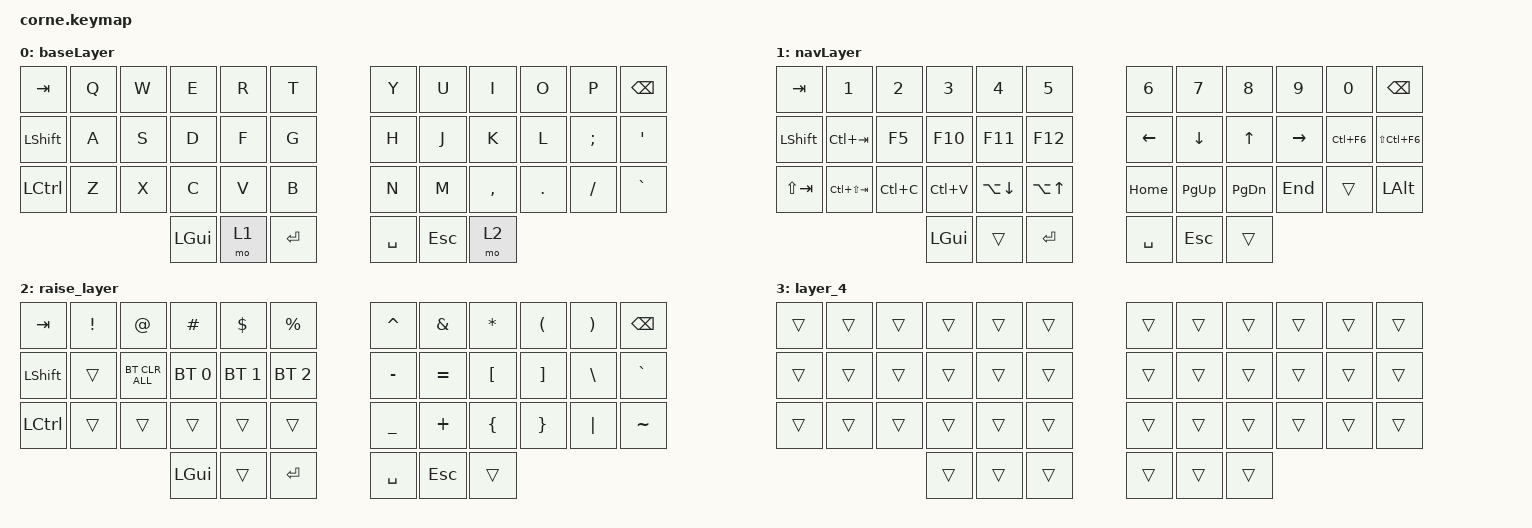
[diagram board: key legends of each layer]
/*
 * Copyright (c) 2020 The ZMK Contributors
 *
 * SPDX-License-Identifier: MIT
 */

#include <behaviors.dtsi>
#include <dt-bindings/zmk/bt.h>
#include <dt-bindings/zmk/keys.h>

/ {
    combos {
        compatible = "zmk,combos";

        cb_minus {
            bindings = <&kp MINUS>;
            key-positions = <6 7>;
        };

        cb_paren {
            bindings = <&kp LPAR>;
            key-positions = <18 19>;
        };

        cb_braket {
            bindings = <&kp LEFT_BRACE>;
            key-positions = <30 31>;
        };

        underline {
            bindings = <&kp UNDERSCORE>;
            key-positions = <8 9>;
        };
    };

    keymap {
        compatible = "zmk,keymap";

        baseLayer {
            // -----------------------------------------------------------------------------------------
            // |  TAB |  Q  |  W  |  E  |  R  |  T  |   |  Y  |  U   |  I  |  O  |  P  | BSPC |
            // | CTRL |  A  |  S  |  D  |  F  |  G  |   |  H  |  J   |  K  |  L  |  ;  |  '   |
            // | SHFT |  Z  |  X  |  C  |  V  |  B  |   |  N  |  M   |  ,  |  .  |  /  | ESC  |
            //                    | GUI | LWR | SPC |   | ENT | RSE  | ALT |

            bindings = <
&kp TAB         &kp Q  &kp W  &kp E     &kp R  &kp T        &kp Y      &kp U       &kp I      &kp O    &kp P     &kp BSPC
&kp LEFT_SHIFT  &kp A  &kp S  &kp D     &kp F  &kp G        &kp H      &kp J       &kp K      &kp L    &kp SEMI  &kp SQT
&kp LCTRL       &kp Z  &kp X  &kp C     &kp V  &kp B        &kp N      &kp M       &kp COMMA  &kp DOT  &kp FSLH  &kp GRAVE
                              &kp LGUI  &mo 1  &kp ENTER    &kp SPACE  &kp ESCAPE  &mo 2
            >;
        };

        navLayer {
            // -----------------------------------------------------------------------------------------
            // |  TAB |  1  |  2  |  3  |  4  |  5  |   |  6  |  7  |  8  |  9  |  0  | BSPC |
            // | BTCLR| BT1 | BT2 | BT3 | BT4 | BT5 |   | LFT | DWN |  UP | RGT |     |      |
            // | SHFT |     |     |     |     |     |   |     |     |     |     |     |      |
            //                    | GUI |     | SPC |   | ENT |     | ALT |

            bindings = <
&kp TAB         &kp N1           &kp N2     &kp N3     &kp N4              &kp N5              &kp N6     &kp N7      &kp N8         &kp N9     &kp N0      &kp BSPC
&kp LEFT_SHIFT  &kp LC(TAB)      &kp F5     &kp F10    &kp F11             &kp F12             &kp LEFT   &kp DOWN    &kp UP         &kp RIGHT  &kp LC(F6)  &kp LS(LC(F6))
&kp LS(TAB)     &kp LC(LS(TAB))  &kp LC(C)  &kp LC(V)  &kp LA(DOWN_ARROW)  &kp LA(UP_ARROW)    &kp HOME   &kp PG_UP   &kp PAGE_DOWN  &kp END    &trans      &kp LEFT_ALT
                                            &kp LGUI   &trans              &kp ENTER           &kp SPACE  &kp ESCAPE  &trans
            >;
        };

        raise_layer {
            // -----------------------------------------------------------------------------------------
            // |  TAB |  !  |  @  |  #  |  $  |  %  |   |  ^  |  &  |  *  |  (  |  )  | BSPC |
            // | CTRL |     |     |     |     |     |   |  -  |  =  |  [  |  ]  |  \  |  `   |
            // | SHFT |     |     |     |     |     |   |  _  |  +  |  {  |  }  | "|" |  ~   |
            //                    | GUI |     | SPC |   | ENT |     | ALT |

            bindings = <
&kp TAB           &kp EXCL  &kp AT          &kp HASH      &kp DLLR      &kp PRCNT       &kp CARET  &kp AMPS   &kp ASTRK  &kp LPAR  &kp RPAR  &kp BSPC
&kp LEFT_SHIFT    &trans    &bt BT_CLR_ALL  &bt BT_SEL 0  &bt BT_SEL 1  &bt BT_SEL 2    &kp MINUS  &kp EQUAL  &kp LBKT   &kp RBKT  &kp BSLH  &kp GRAVE
&kp LEFT_CONTROL  &trans    &trans          &trans        &trans        &trans          &kp UNDER  &kp PLUS   &kp LBRC   &kp RBRC  &kp PIPE  &kp TILDE
                                            &kp LGUI      &trans        &kp ENTER       &kp SPACE  &kp ESC    &trans
            >;
        };

        layer_4 {
            bindings = <
&trans  &trans  &trans  &trans  &trans  &trans    &trans  &trans  &trans  &trans  &trans  &trans
&trans  &trans  &trans  &trans  &trans  &trans    &trans  &trans  &trans  &trans  &trans  &trans
&trans  &trans  &trans  &trans  &trans  &trans    &trans  &trans  &trans  &trans  &trans  &trans
                        &trans  &trans  &trans    &trans  &trans  &trans
            >;
        };
    };
};
